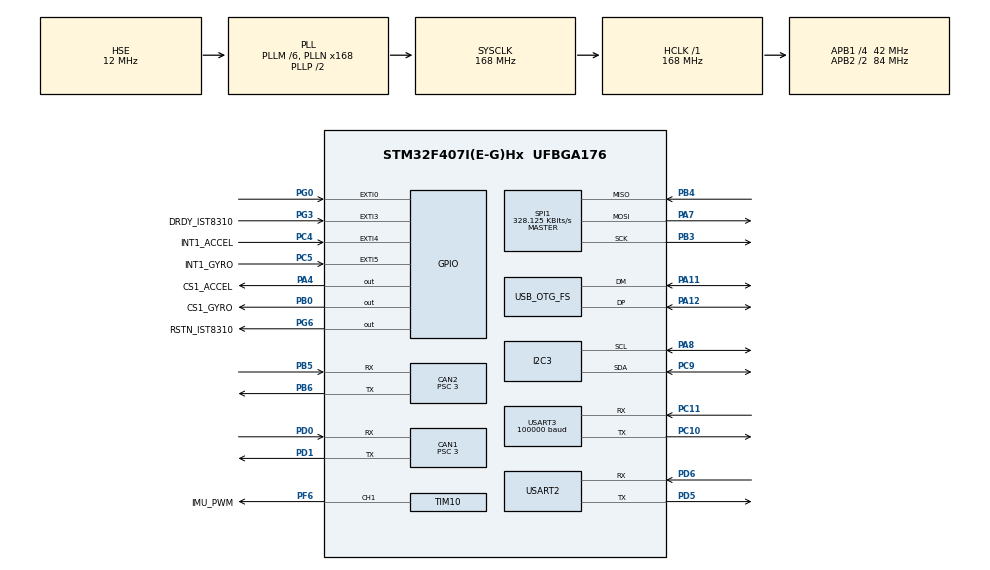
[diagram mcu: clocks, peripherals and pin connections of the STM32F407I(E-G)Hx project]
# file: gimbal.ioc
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CAN1.BS1=CAN_BS1_5TQ
CAN1.BS2=CAN_BS2_8TQ
CAN1.CalculateBaudRate=1000000
CAN1.CalculateTimeBit=1000
CAN1.CalculateTimeQuantum=71.42857142857143
CAN1.Prescaler=3
CAN2.ABOM=DISABLE
CAN2.AWUM=DISABLE
CAN2.BS1=CAN_BS1_5TQ
CAN2.BS2=CAN_BS2_8TQ
CAN2.CalculateBaudRate=1000000
CAN2.CalculateTimeBit=1000
CAN2.CalculateTimeQuantum=71.42857142857143
CAN2.Prescaler=3
Dma.Request0=SPI1_RX
Dma.Request1=SPI1_TX
Dma.Request2=USART3_RX
Dma.Request3=USART2_RX
Dma.SPI1_RX.0.Direction=DMA_PERIPH_TO_MEMORY
Dma.SPI1_RX.0.FIFOMode=DMA_FIFOMODE_DISABLE
Dma.SPI1_RX.0.Instance=DMA2_Stream2
Dma.SPI1_RX.0.MemDataAlignment=DMA_MDATAALIGN_BYTE
Dma.SPI1_RX.0.MemInc=DMA_MINC_ENABLE
Dma.SPI1_RX.0.Mode=DMA_NORMAL
Dma.SPI1_RX.0.PeriphDataAlignment=DMA_PDATAALIGN_BYTE
Dma.SPI1_RX.0.PeriphInc=DMA_PINC_DISABLE
Dma.SPI1_RX.0.Priority=DMA_PRIORITY_VERY_HIGH
Dma.SPI1_TX.1.Direction=DMA_MEMORY_TO_PERIPH
Dma.SPI1_TX.1.FIFOMode=DMA_FIFOMODE_DISABLE
Dma.SPI1_TX.1.Instance=DMA2_Stream3
Dma.SPI1_TX.1.MemDataAlignment=DMA_MDATAALIGN_BYTE
Dma.SPI1_TX.1.MemInc=DMA_MINC_ENABLE
Dma.SPI1_TX.1.Mode=DMA_NORMAL
Dma.SPI1_TX.1.PeriphDataAlignment=DMA_PDATAALIGN_BYTE
Dma.SPI1_TX.1.PeriphInc=DMA_PINC_DISABLE
Dma.SPI1_TX.1.Priority=DMA_PRIORITY_HIGH
Dma.USART2_RX.3.Direction=DMA_PERIPH_TO_MEMORY
Dma.USART2_RX.3.FIFOMode=DMA_FIFOMODE_DISABLE
Dma.USART2_RX.3.Instance=DMA1_Stream5
Dma.USART2_RX.3.MemDataAlignment=DMA_MDATAALIGN_BYTE
Dma.USART2_RX.3.MemInc=DMA_MINC_ENABLE
Dma.USART2_RX.3.Mode=DMA_NORMAL
Dma.USART2_RX.3.PeriphDataAlignment=DMA_PDATAALIGN_BYTE
Dma.USART2_RX.3.PeriphInc=DMA_PINC_DISABLE
Dma.USART2_RX.3.Priority=DMA_PRIORITY_MEDIUM
Dma.USART3_RX.2.Direction=DMA_PERIPH_TO_MEMORY
Dma.USART3_RX.2.FIFOMode=DMA_FIFOMODE_DISABLE
Dma.USART3_RX.2.Instance=DMA1_Stream1
Dma.USART3_RX.2.MemDataAlignment=DMA_MDATAALIGN_BYTE
Dma.USART3_RX.2.MemInc=DMA_MINC_ENABLE
Dma.USART3_RX.2.Mode=DMA_NORMAL
Dma.USART3_RX.2.PeriphDataAlignment=DMA_PDATAALIGN_BYTE
Dma.USART3_RX.2.PeriphInc=DMA_PINC_DISABLE
Dma.USART3_RX.2.Priority=DMA_PRIORITY_MEDIUM
I2C3.I2C_Mode=I2C_Fast
Mcu.Family=STM32F4
Mcu.Name=STM32F407I(E-G)Hx
Mcu.Package=UFBGA176
NVIC.CAN1_RX0_IRQn=true\:1\:0\:true\:false\:true\:true\:true\:true
NVIC.CAN1_TX_IRQn=true\:1\:0\:true\:false\:true\:true\:true\:true
NVIC.CAN2_RX0_IRQn=true\:1\:0\:true\:false\:true\:true\:true\:true
NVIC.DMA1_Stream1_IRQn=true\:0\:0\:false\:false\:true\:false\:true\:true
NVIC.DMA1_Stream5_IRQn=true\:0\:0\:false\:false\:true\:false\:true\:true
NVIC.DMA2_Stream2_IRQn=true\:0\:0\:true\:false\:true\:false\:true\:true
NVIC.DMA2_Stream3_IRQn=true\:0\:0\:false\:false\:true\:false\:true\:true
NVIC.EXTI0_IRQn=true\:2\:0\:true\:false\:true\:true\:true\:true
NVIC.EXTI3_IRQn=true\:1\:0\:true\:false\:true\:true\:true\:true
NVIC.EXTI4_IRQn=true\:1\:0\:true\:false\:true\:true\:true\:true
NVIC.EXTI9_5_IRQn=true\:1\:0\:true\:false\:true\:true\:true\:true
NVIC.OTG_FS_IRQn=true\:1\:0\:true\:false\:true\:false\:true\:true
NVIC.PriorityGroup=NVIC_PRIORITYGROUP_4
NVIC.TIM2_IRQn=true\:1\:0\:true\:false\:true\:true\:true\:true
NVIC.TIM3_IRQn=true\:1\:0\:true\:false\:true\:true\:true\:true
NVIC.USART3_IRQn=true\:1\:0\:true\:false\:true\:true\:true\:true
PA11.Mode=Device_Only
PA11.Signal=USB_OTG_FS_DM
PA12.Mode=Device_Only
PA12.Signal=USB_OTG_FS_DP
PA13.Mode=Serial_Wire
PA13.Signal=SYS_JTMS-SWDIO
PA14.Mode=Serial_Wire
PA14.Signal=SYS_JTCK-SWCLK
PA4.GPIO_Label=CS1_ACCEL
PA4.GPIO_PuPd=GPIO_PULLUP
PA4.GPIO_Speed=GPIO_SPEED_FREQ_HIGH
PA4.PinState=GPIO_PIN_SET
PA4.Signal=GPIO_Output
PA7.Mode=Full_Duplex_Master
PA7.Signal=SPI1_MOSI
PA8.Mode=I2C
PA8.Signal=I2C3_SCL
PB0.GPIO_Label=CS1_GYRO
PB0.GPIO_PuPd=GPIO_PULLUP
PB0.GPIO_Speed=GPIO_SPEED_FREQ_HIGH
PB0.PinState=GPIO_PIN_SET
PB0.Signal=GPIO_Output
PB3.Mode=Full_Duplex_Master
PB3.Signal=SPI1_SCK
PB4.Mode=Full_Duplex_Master
PB4.Signal=SPI1_MISO
PB5.Mode=CAN_Activate
PB5.Signal=CAN2_RX
PB6.Mode=CAN_Activate
PB6.Signal=CAN2_TX
PC10.Mode=Asynchronous
PC10.Signal=USART3_TX
PC11.Mode=Asynchronous
PC11.Signal=USART3_RX
PC4.GPIO_Label=INT1_ACCEL
PC4.GPIO_PuPd=GPIO_PULLUP
PC4.Signal=GPXTI4
PC5.GPIO_Label=INT1_GYRO
PC5.GPIO_PuPd=GPIO_PULLUP
PC5.Signal=GPXTI5
PC9.Mode=I2C
PC9.Signal=I2C3_SDA
PD0.Mode=CAN_Activate
PD0.Signal=CAN1_RX
PD1.Mode=CAN_Activate
PD1.Signal=CAN1_TX
PD5.Mode=Asynchronous
PD5.Signal=USART2_TX
PD6.Mode=Asynchronous
PD6.Signal=USART2_RX
PF6.GPIO_Label=IMU_PWM
PF6.GPIO_PuPd=GPIO_PULLUP
PF6.GPIO_Speed=GPIO_SPEED_FREQ_HIGH
PF6.Signal=S_TIM10_CH1
PG0.GPIO_PuPd=GPIO_PULLUP
PG0.Signal=GPXTI0
PG3.GPIO_Label=DRDY_IST8310
PG3.GPIO_PuPd=GPIO_PULLUP
PG3.Signal=GPXTI3
PG6.GPIO_Label=RSTN_IST8310
PG6.GPIO_PuPd=GPIO_PULLUP
PG6.GPIO_Speed=GPIO_SPEED_FREQ_HIGH
PG6.PinState=GPIO_PIN_SET
PG6.Signal=GPIO_Output
PH0-OSC_IN.Mode=HSE-External-Oscillator
PH0-OSC_IN.Signal=RCC_OSC_IN
PH1-OSC_OUT.Mode=HSE-External-Oscillator
PH1-OSC_OUT.Signal=RCC_OSC_OUT
ProjectManager.HeapSize=0x200
ProjectManager.StackSize=0x400
ProjectManager.TargetToolchain=MDK-ARM V5.32
RCC.48MHZClocksFreq_Value=48000000
RCC.AHBFreq_Value=168000000
RCC.APB1CLKDivider=RCC_HCLK_DIV4
RCC.APB1Freq_Value=42000000
RCC.APB1TimFreq_Value=84000000
RCC.APB2CLKDivider=RCC_HCLK_DIV2
RCC.APB2Freq_Value=84000000
RCC.APB2TimFreq_Value=168000000
RCC.CortexFreq_Value=168000000
RCC.HCLKFreq_Value=168000000
RCC.HSE_VALUE=12000000
RCC.HSI_VALUE=16000000
RCC.LSE_VALUE=32768
RCC.PLLM=6
RCC.PLLN=168
RCC.PLLQ=7
RCC.SYSCLKFreq_VALUE=168000000
RCC.SYSCLKSource=RCC_SYSCLKSOURCE_PLLCLK
RCC.VCOOutputFreq_Value=336000000
SH.S_TIM10_CH1.0=TIM10_CH1,PWM Generation1 CH1
SPI1.BaudRatePrescaler=SPI_BAUDRATEPRESCALER_256
SPI1.CLKPhase=SPI_PHASE_2EDGE
SPI1.CLKPolarity=SPI_POLARITY_HIGH
SPI1.CalculateBaudRate=328.125 KBits/s
SPI1.Direction=SPI_DIRECTION_2LINES
SPI1.Mode=SPI_MODE_MASTER
SPI1.VirtualType=VM_MASTER
TIM10.Channel=TIM_CHANNEL_1
TIM10.Period=4999
TIM2.AutoReloadPreload=TIM_AUTORELOAD_PRELOAD_ENABLE
TIM2.Period=1000-1
TIM2.Prescaler=84-1
TIM3.Period=1000-1
TIM3.Prescaler=84-1
USART2.VirtualMode=VM_ASYNC
USART3.BaudRate=100000
USART3.Parity=PARITY_EVEN
USART3.VirtualMode=VM_ASYNC
USB_DEVICE.CLASS_NAME_FS=CDC
USB_DEVICE.VirtualMode-CDC_FS=Cdc
USB_DEVICE.VirtualModeFS=Cdc_FS
USB_OTG_FS.VirtualMode=Device_Only
VP_TIM10_VS_ClockSourceINT.Mode=Enable_Timer
VP_TIM2_VS_ClockSourceINT.Mode=Internal
VP_TIM3_VS_ClockSourceINT.Mode=Internal
VP_USB_DEVICE_VS_USB_DEVICE_CDC_FS.Mode=CDC_FS
board=custom

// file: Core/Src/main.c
/* USER CODE BEGIN Header */
/**
  ******************************************************************************
  * @file           : main.c
  * @brief          : Main program body
  ******************************************************************************
  * @attention
  *
  * Copyright (c) 2024 STMicroelectronics.
  * All rights reserved.
  *
  * This software is licensed under terms that can be found in the LICENSE file
  * in the root directory of this software component.
  * If no LICENSE file comes with this software, it is provided AS-IS.
  *
  ******************************************************************************
  */
/* USER CODE END Header */
#include "main.h"
#include "can.h"
#include "dma.h"
#include "i2c.h"
#include "spi.h"
#include "tim.h"
#include "usart.h"
#include "usb_device.h"
#include "gpio.h"

/* USER CODE BEGIN Includes */
#include "bsp_can.h"
#include "remote_control.h"
#include "CAN_receive.h"

#include "gimbal.h"
#include "bsp_imu.h"
#include "delay.h"

#include "usbd_cdc_if.h"

/* USER CODE END Includes */

void SystemClock_Config(void);

int main(void)
{

  /* MCU Configuration--------------------------------------------------------*/

  /* Reset of all peripherals, Initializes the Flash interface and the Systick. */
  HAL_Init();

  /* Configure the system clock */
  SystemClock_Config();

  /* Initialize all configured peripherals */
  MX_GPIO_Init();
  MX_DMA_Init();
  MX_CAN1_Init();
  MX_CAN2_Init();
  MX_TIM2_Init();
  MX_I2C3_Init();
  MX_SPI1_Init();
  MX_TIM10_Init();
  MX_USART3_UART_Init();
  MX_USB_DEVICE_Init();
  MX_USART2_UART_Init();
  MX_TIM3_Init();
  /* USER CODE BEGIN 2 */

	set_pit_offset();

	remote_control_init();
	can_filter_init();
	gimbal_init(&gimbal_move);

	HAL_TIM_Base_Start(&htim10);
	HAL_TIM_PWM_Start(&htim10, TIM_CHANNEL_1);
	delay_init();
	IMU_Init();

	HAL_TIM_Base_Start_IT(&htim2);
	HAL_TIM_Base_Start_IT(&htim3);

  /* USER CODE END 2 */

  /* Infinite loop */
	while (1)
  {

  }
}

void SystemClock_Config(void)
{
  RCC_OscInitTypeDef RCC_OscInitStruct = {0};
  RCC_ClkInitTypeDef RCC_ClkInitStruct = {0};

  /** Configure the main internal regulator output voltage
  */
  __HAL_RCC_PWR_CLK_ENABLE();
  __HAL_PWR_VOLTAGESCALING_CONFIG(PWR_REGULATOR_VOLTAGE_SCALE1);

  /** Initializes the RCC Oscillators according to the specified parameters
  * in the RCC_OscInitTypeDef structure.
  */
  RCC_OscInitStruct.OscillatorType = RCC_OSCILLATORTYPE_HSE;
  RCC_OscInitStruct.HSEState = RCC_HSE_ON;
  RCC_OscInitStruct.PLL.PLLState = RCC_PLL_ON;
  RCC_OscInitStruct.PLL.PLLSource = RCC_PLLSOURCE_HSE;
  RCC_OscInitStruct.PLL.PLLM = 6;
  RCC_OscInitStruct.PLL.PLLN = 168;
  RCC_OscInitStruct.PLL.PLLP = RCC_PLLP_DIV2;
  RCC_OscInitStruct.PLL.PLLQ = 7;
  if (HAL_RCC_OscConfig(&RCC_OscInitStruct) != HAL_OK)
  {
    Error_Handler();
  }

  /** Initializes the CPU, AHB and APB buses clocks
  */
  RCC_ClkInitStruct.ClockType = RCC_CLOCKTYPE_HCLK|RCC_CLOCKTYPE_SYSCLK
                              |RCC_CLOCKTYPE_PCLK1|RCC_CLOCKTYPE_PCLK2;
  RCC_ClkInitStruct.SYSCLKSource = RCC_SYSCLKSOURCE_PLLCLK;
  RCC_ClkInitStruct.AHBCLKDivider = RCC_SYSCLK_DIV1;
  RCC_ClkInitStruct.APB1CLKDivider = RCC_HCLK_DIV4;
  RCC_ClkInitStruct.APB2CLKDivider = RCC_HCLK_DIV2;

  if (HAL_RCC_ClockConfig(&RCC_ClkInitStruct, FLASH_LATENCY_5) != HAL_OK)
  {
    Error_Handler();
  }
}

void Error_Handler(void)
{
  __disable_irq();
  while (1)
  {
  }
}
